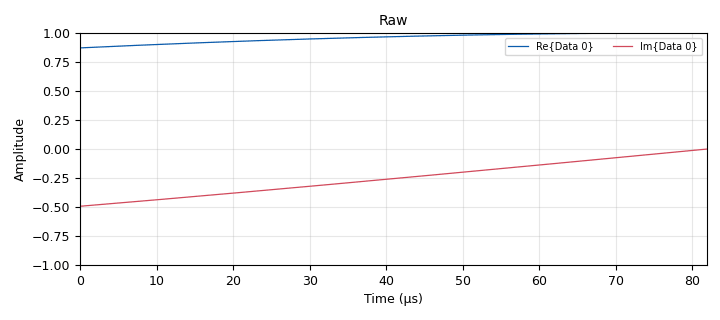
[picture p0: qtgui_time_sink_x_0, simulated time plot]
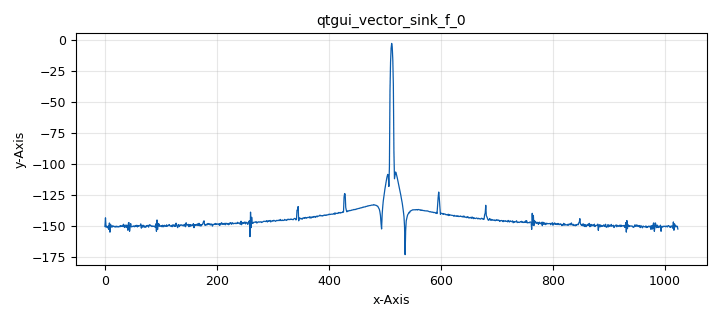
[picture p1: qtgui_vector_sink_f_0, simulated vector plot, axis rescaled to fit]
options:
  parameters:
    generate_options: qt_gui
    id: Itrigger2_virtual
    output_language: python
    title: Trigger Virtual
  states: {}

blocks:
- name: bin_high
  id: variable
  parameters:
    value: '350'
  states: {}
- name: bin_low
  id: variable
  parameters:
    value: '250'
  states: {}
- name: fftsz
  id: variable
  parameters:
    value: '1024'
  states: {}
- name: freq
  id: variable_qtgui_range
  parameters:
    label: Frequency
    start: '-samp_rate/2'
    step: '100'
    stop: samp_rate/2
    value: 1e3
  states: {}
- name: movavg_length
  id: variable
  parameters:
    value: '100'
  states: {}
- name: samp_rate
  id: variable
  parameters:
    value: 200e6/16
  states: {}
- name: analog_sig_source_x_0
  id: analog_sig_source_x
  parameters:
    amp: '1'
    freq: freq
    offset: '0'
    phase: '0'
    samp_rate: samp_rate
    type: complex
    waveform: analog.GR_COS_WAVE
  states: {}
- name: blocks_add_const_vxx_0
  id: blocks_add_const_vxx
  parameters:
    const: (-1e6,)*bin_low+(0,)*(bin_high-bin_low)+(-1e6,)*(fftsz-bin_high)
    type: float
    vlen: fftsz
  states: {}
- name: blocks_max_xx_0
  id: blocks_max_xx
  parameters:
    type: float
    vlen: fftsz
    vlen_out: '1'
  states: {}
- name: blocks_moving_average_xx_0
  id: blocks_moving_average_xx
  parameters:
    length: movavg_length
    max_iter: '4000'
    scale: 1/movavg_length
    type: float
  states: {}
- name: blocks_throttle_0
  id: blocks_throttle
  parameters:
    samples_per_second: samp_rate
    type: complex
  states: {}
- name: epy_block_0
  id: epy_block
  parameters:
    FFT_size: fftsz
    _source_code: |
      """
      Embedded Python Blocks:

      Each time this file is saved, GRC will instantiate the first class it finds
      to get ports and parameters of your block. The arguments to __init__  will
      be the parameters. All of them are required to have default values!
      """

      import numpy as np
      import math
      from gnuradio import gr
      import pmt


      class blk(gr.sync_block):  # other base classes are basic_block, decim_block, interp_block
          """Embedded Python Block example - a simple multiply const"""

          def __init__(self, FFT_size=1024, sample_rate=25E6, frequency_low=10.9e6,
                      frequency_high=11.1e6):  # only default arguments here
              """arguments to this function show up as parameters in GRC"""
              gr.sync_block.__init__(
                  self,
                  name='Selective FFT Vector Averager',   # will show up in GRC
                  in_sig=[(np.float32,FFT_size)],
                  out_sig=[np.float32]
              )
              # if an attribute with the same name as a parameter is found,
              # a callback is registered (properties work, too).
              self.FFT_size = FFT_size
              self.sample_rate = sample_rate
              self.frequency_low = frequency_low+sample_rate/2
              self.frequency_high = frequency_high+sample_rate/2
              
              # Calculate the bins we are interested in sampling
              self.bin_width = (self.sample_rate)/self.FFT_size
              self.bin_low = math.floor(self.frequency_low/self.bin_width)
              print("bin low: ", self.bin_low)
              self.bin_high = math.ceil(self.frequency_high/self.bin_width)
              print("bin high: ", self.bin_high)
              #print("tesT")
              
              #Message Handling
              self.portName = 'controlOut'
              self.message_port_register_out(pmt.intern(self.portName))
              

          def work(self, input_items, output_items):
              # Loop through all received vectors
              #print("Input fft: ", len(input_items[0]))
              for i in range(len(input_items[0])):
                  #print("bruh")
                  output_items[0][i] = input_items[0][i][self.bin_low:self.bin_high].max()
                  PMT_msg = pmt.from_double(output_items[0][i])
                  self.message_port_pub(pmt.intern(self.portName), PMT_msg)
         
              #print("Output fft: ", len(output_items[0]))
              #print("-----------------------")
              return len(output_items[0])
    frequency_high: 800e3
    frequency_low: 500e3
    sample_rate: samp_rate
  states: {state: disabled}
- name: epy_block_1_0
  id: epy_block
  parameters:
    _source_code: |
      """ Ionosonde Trigger Block
          By Jaden Keener, 2/5/23
          
          Last updated 2/12/23 12:55
          - Added moving average functionality. Now we shouldn't have to manually set
            trigger threshold
          
          This block records the raw SDR output when a strong enough input is 
          provided. This block is meant to be used alongside a filter. The filter 
          should bandpass the trigger frequency, then go to an average power block
          which then feeds into this blocks first input.
          
          Outputs are purely debug.
          
          See __init__ for additional i/o information
      """

      import numpy as np
      import datetime
      from gnuradio import gr
      import pmt

      class blk(gr.sync_block):  

          def __init__(self, trigger_delta_dB=5, samp_rate = 32E3, capture_window = 5): 
              
              """ INPUTS/OUTPUTS:
                      input[0]: Raw Data from SDR
                      
                      output[0]: debug state information
                      output[1]: debug timer information
                      
                      msg[controlPort]: input from custom FFT filter
                  """
              gr.sync_block.__init__(
                  self,
                  name='Ionosonde Trigger 2.0', 
                  in_sig=[np.complex64],
                  out_sig=[np.float32, np.float32]
              )
              
              self.trigger_Power = trigger_delta_dB
              self.samp_rate = samp_rate
              self.capture_window = capture_window
              # timer max is calculated as sample rate * capture window in seconds.
              self.timerMax = self.timer = self.samp_rate * self.capture_window
              self.writing = False
              
              # Message Handling
              self.controlPortName = 'controlIn'
              self.message_port_register_in(pmt.intern(self.controlPortName))
              self.set_msg_handler(pmt.intern(self.controlPortName), self.handle_msg)
             
              self.control = False # default for control
              self.controlLast = 10e3
             
          def handle_msg(self, msg):
              controlIn = pmt.to_double(msg)
              
              if controlIn > self.controlLast+self.trigger_Power:
                  self.control = True
              
              self.controlLast = controlIn
             
             
          def work(self, input_items, output_items):
              
              # Check if we are writing
              if self.writing:
                  # If we are and we still have time on the clock
                  if self.timer < self.timerMax:
                      # Then write data to file
                      self.file.write(input_items[0][:])
                      self.timer += len(input_items[0])
                      output_items[0][:] = 2
                  else:
                      # Otherwise close the file and reset flags
                      self.file.close()
                      self.writing = False
                      self.control = False
                      output_items[0][:] = 0
              
              # If not writing, do we have high power on trigger?
              elif self.control:
                  # Set status variables
                  self.writing = True
                  self.timer = 0
                  output_items[0][:] = 1
                  
                  # Open new file and do first write
                  self.filename = '{date:%Y%m%d_%H%M%S}.chirp'.format(date=datetime.datetime.now())
                  self.file = open(self.filename, "ab")
                  self.file.write(input_items[0][:])
              # Show debug state of none
              else:
                  output_items[0][:] = 0
              
              # For debugging timer
              output_items[1][:] = self.timer
              
              # gnuradio needs this return
              return len(output_items[0])
    capture_window: '5'
    samp_rate: samp_rate
    trigger_delta_dB: '300'
  states: {state: disabled}
- name: import_0
  id: import
  parameters:
    imports: import math
  states: {}
- name: logpwrfft_x_0
  id: logpwrfft_x
  parameters:
    average: 'False'
    avg_alpha: '1.0'
    fft_size: fftsz
    frame_rate: '30'
    ref_scale: '2'
    sample_rate: samp_rate
    shift: 'True'
    type: complex
  states: {}
- name: qtgui_number_sink_0
  id: qtgui_number_sink
  parameters:
    graph_type: qtgui.NUM_GRAPH_HORIZ
    type: float
  states: {}
- name: qtgui_number_sink_1_0
  id: qtgui_number_sink
  parameters:
    graph_type: qtgui.NUM_GRAPH_HORIZ
    max: '3'
    name: '"TrigOut"'
    type: float
  states: {state: disabled}
- name: qtgui_number_sink_1_0_0
  id: qtgui_number_sink
  parameters:
    autoscale: 'True'
    graph_type: qtgui.NUM_GRAPH_HORIZ
    max: '3'
    name: '"TFFTOut"'
    type: float
  states: {state: disabled}
- name: qtgui_number_sink_1_1_0
  id: qtgui_number_sink
  parameters:
    graph_type: qtgui.NUM_GRAPH_HORIZ
    max: 200E3
    min: '0'
    name: '"Timer"'
    type: float
  states: {state: disabled}
- name: qtgui_time_sink_x_0
  id: qtgui_time_sink_x
  parameters:
    name: '"Raw"'
    size: '1024'
    srate: samp_rate
    type: complex
  states: {}
- name: qtgui_vector_sink_f_0
  id: qtgui_vector_sink_f
  parameters:
    vlen: '1024'
    x_start: '0'
    x_step: '1.0'
  states: {}
- name: virtual_sink_0
  id: virtual_sink
  parameters:
    stream_id: signal
  states: {}
- name: virtual_source_0_0
  id: virtual_source
  parameters:
    stream_id: signal
  states: {state: disabled}

connections:
- [analog_sig_source_x_0, '0', blocks_throttle_0, '0']
- [blocks_add_const_vxx_0, '0', blocks_max_xx_0, '0']
- [blocks_max_xx_0, '0', blocks_moving_average_xx_0, '0']
- [blocks_moving_average_xx_0, '0', qtgui_number_sink_0, '0']
- [blocks_throttle_0, '0', logpwrfft_x_0, '0']
- [blocks_throttle_0, '0', qtgui_time_sink_x_0, '0']
- [blocks_throttle_0, '0', virtual_sink_0, '0']
- [epy_block_0, '0', qtgui_number_sink_1_0_0, '0']
- [epy_block_0, controlOut, epy_block_1_0, controlIn]
- [epy_block_1_0, '0', qtgui_number_sink_1_0, '0']
- [epy_block_1_0, '1', qtgui_number_sink_1_1_0, '0']
- [logpwrfft_x_0, '0', blocks_add_const_vxx_0, '0']
- [logpwrfft_x_0, '0', qtgui_vector_sink_f_0, '0']
- [virtual_source_0_0, '0', epy_block_1_0, '0']

metadata:
  file_format: 1
  grc_version: 3.10.5.0
